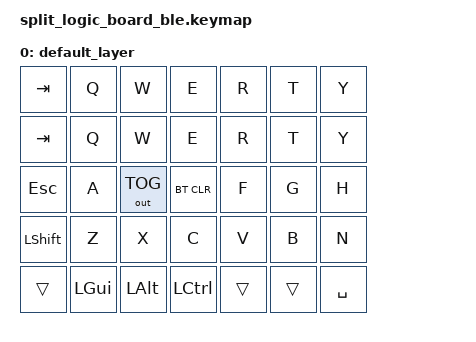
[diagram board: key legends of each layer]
#include <behaviors.dtsi>
#include <dt-bindings/zmk/bt.h>
#include <dt-bindings/zmk/keys.h>
#include <dt-bindings/zmk/outputs.h>

/ {
	keymap {
		compatible = "zmk,keymap";

		default_layer {
//TODO
// -----------------------------------------------------------------------------------------
// |  TAB  |  Q   |  W   |  E   |  R   |  T   |   Y   | 
// |  TAB  |  Q   |  W   |  E   |  R   |  T   |   Y   | 
// |  ESC  |  A   |  S   |  D   |  F   |  G   |   H   | 
// | SHIFT |  Z   |  X   |  C   |  V   |  B   |   N   | 
// | FN    | LGUI | LALT | LCTL | LOWR |     SPACE    | 
// 18/11 = 0.22/0.06 -> OUT_TOG
// 18/12 = 0.22/0.08 -> BT_CLR
			bindings = <
	&kp TAB   &kp Q    &kp W    &kp E     &kp R  &kp T  &kp Y     
	&kp TAB   &kp Q    &kp W    &kp E     &kp R  &kp T  &kp Y     
	&kp ESC   &kp A    &out OUT_TOG    &bt BT_CLR     &kp F  &kp G  &kp H     
	&kp LSHFT &kp Z    &kp X    &kp C     &kp V  &kp B  &kp N     
	&trans    &kp LGUI &kp LALT &kp LCTRL &trans &trans &kp SPACE 
			>;
		};
	};
};
